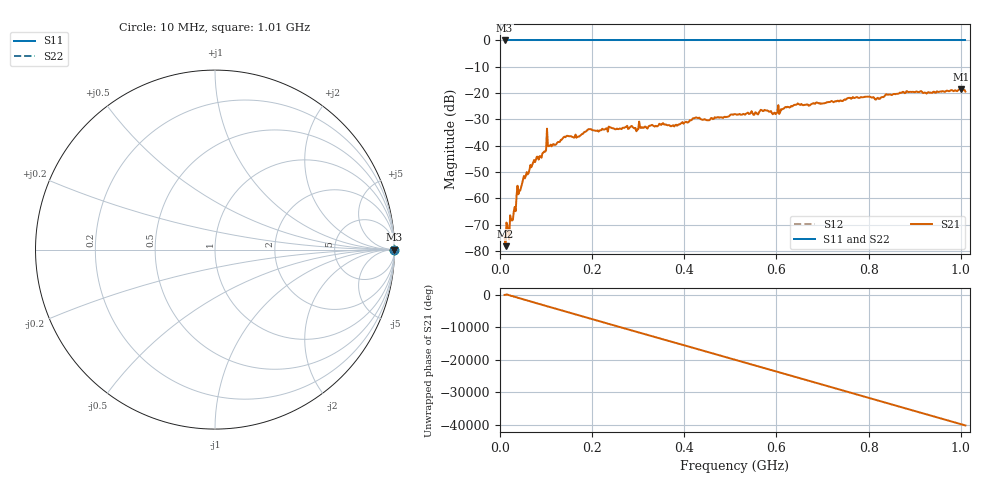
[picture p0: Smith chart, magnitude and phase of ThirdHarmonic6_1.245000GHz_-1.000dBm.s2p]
! 8/16/2025 1:15:58 PM
! C:\ANRITSUVNA\TEMP\TEMP.S2P
! CHANNEL.1
! TR.MEASUREMENT
! RAW.DATA
! RF.CORRECTION.OFF
! AVERAGING.OFF
! IF.BANDWIDTH: 5KHZ
! SWEEPTYPE:  FREQ.SWEEP(Linear)
! Reference Plane Port Info
! PORT:  PORT1  PORT2
! DISTANCE:  0  m  0  m
! TIME:  0  s  0  s
! PHASE.OFFSET:  0  deg.  0  deg.
! LOSS:  0  dB  0  dB
! REF.LOSS:  0  dB  0  dB
! REF.FREQ:  0  Hz  0  Hz
! Power Info
! POWER:  -20  dBm  -20  dBm
! EFF.POWER:  -20  dBm  -20  dBm
! SOURCE.ATTEN:  0  dB  0  dB
! TEST.ATTEN:  0  dB  0  dB
# GHZ S RI R 50.0
! FREQ.GHZ  S11RE  S11IM  S21RE  S21IM  S12RE  S12IM  S22RE  S22IM
!; PortSelection: Port_12
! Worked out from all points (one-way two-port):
!   501 points, 10 MHz to 1.01 GHz, reference 50 ohm
!   highest |S21| = -18.53 dB at 1 GHz (marker M1); lowest = -78.2 dB at 12 MHz (marker M2)
!   lowest |S11| = 0.0 dB at 10 MHz (marker M3)
!   |S11| at or under -10 dB: nowhere
!   |S22| runs from 0.0 to 0.0 dB; largest |S21 - S12| = 1.1
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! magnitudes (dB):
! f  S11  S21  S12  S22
! 10 MHz  0.0  -74.6  0.0  0.0
! 12 MHz  0.0  -78.2  0.0  0.0
! 16 MHz  0.0  -70.3  0.0  0.0
! 18 MHz  0.0  -73.1  0.0  0.0
! 24 MHz  0.0  -68.0  0.0  0.0
! 30 MHz  0.0  -65.0  0.0  0.0
! 40 MHz  0.0  -58.5  0.0  0.0
! 54 MHz  0.0  -52.4  0.0  0.0
! 76 MHz  0.0  -46.3  0.0  0.0
! 94 MHz  0.0  -42.6  0.0  0.0
! 100 MHz  0.0  -41.7  0.0  0.0
! 178 MHz  0.0  -35.6  0.0  0.0
! 194 MHz  0.0  -33.7  0.0  0.0
! 344 MHz  0.0  -32.3  0.0  0.0
! 510 MHz  0.0  -28.0  0.0  0.0
! 570 MHz  0.0  -26.8  0.0  0.0
! 596 MHz  0.0  -27.4  0.0  0.0
! 642 MHz  0.0  -24.5  0.0  0.0
! 678 MHz  0.0  -24.0  0.0  0.0
! 844 MHz  0.0  -20.5  0.0  0.0
! 1 GHz  0.0  -18.5  0.0  0.0
! 1.01 GHz  0.0  -19.4  0.0  0.0
